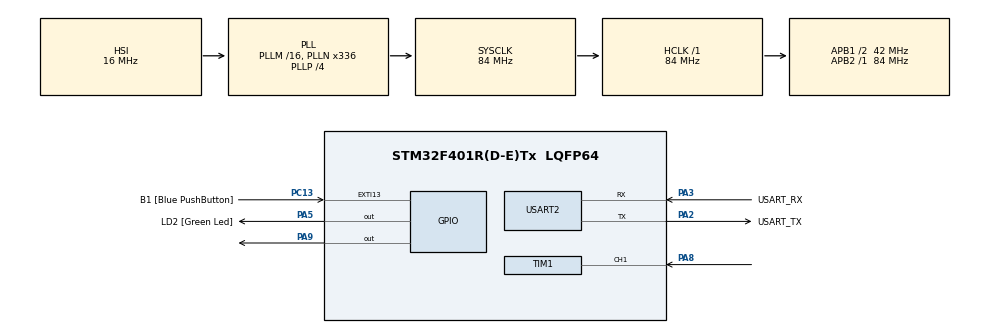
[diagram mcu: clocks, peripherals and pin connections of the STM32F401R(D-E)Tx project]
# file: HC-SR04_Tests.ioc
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Mcu.Family=STM32F4
PC15-OSC32_OUT.Mode=LSE-External-Oscillator
PA2.GPIO_PuPd=GPIO_NOPULL
RCC.CortexFreq_Value=84000000
PC13-ANTI_TAMP.GPIO_PuPd=GPIO_NOPULL
PC13-ANTI_TAMP.GPIO_Label=B1 [Blue PushButton]
PA14.GPIO_Label=TCK
PA3.GPIO_PuPd=GPIO_NOPULL
PH1\ -\ OSC_OUT.Mode=HSE-External-Clock-Source
PA2.GPIO_Speed=GPIO_SPEED_FREQ_LOW
RCC.APB1CLKDivider=RCC_HCLK_DIV2
PC14-OSC32_IN.Signal=RCC_OSC32_IN
PA3.GPIO_Speed=GPIO_SPEED_FREQ_LOW
RCC.SYSCLKSource=RCC_SYSCLKSOURCE_PLLCLK
ProjectManager.StackSize=0x400
PA13.Signal=SYS_JTMS-SWDIO
PA3.Mode=Asynchronous
PH0\ -\ OSC_IN.Mode=HSE-External-Clock-Source
TIM1.Prescaler=84-1
SH.S_TIM1_CH1.0=TIM1_CH1,Input_Capture1_from_TI1
PH0\ -\ OSC_IN.Signal=RCC_OSC_IN
ProjectManager.TargetToolchain=STM32CubeIDE
PA3.GPIO_Mode=GPIO_MODE_AF_PP
RCC.HCLKFreq_Value=84000000
RCC.APB2TimFreq_Value=84000000
PA9.Signal=GPIO_Output
PC15-OSC32_OUT.Signal=RCC_OSC32_OUT
RCC.AHBFreq_Value=84000000
PA5.Signal=GPIO_Output
RCC.HSE_VALUE=8000000
PH1\ -\ OSC_OUT.Signal=RCC_OSC_OUT
board=NUCLEO-F401RE
PC13-ANTI_TAMP.Signal=GPXTI13
RCC.VCOOutputFreq_Value=336000000
RCC.APB2Freq_Value=84000000
PC14-OSC32_IN.Mode=LSE-External-Oscillator
PA14.Mode=Serial_Wire
PA5.GPIO_PuPd=GPIO_NOPULL
PA8.Signal=S_TIM1_CH1
PA13.Mode=Serial_Wire
Mcu.Name=STM32F401R(D-E)Tx
PA2.Signal=USART2_TX
PA13.GPIO_Label=TMS
NVIC.TIM1_CC_IRQn=true\:0\:0\:false\:false\:true\:true\:true
RCC.48MHZClocksFreq_Value=48000000
PB3.Signal=SYS_JTDO-SWO
RCC.SYSCLKFreq_VALUE=84000000
Mcu.Package=LQFP64
PA5.GPIO_Label=LD2 [Green Led]
USART2.VirtualMode=VM_ASYNC
TIM1.Channel-Input_Capture1_from_TI1=TIM_CHANNEL_1
PC13-ANTI_TAMP.GPIO_ModeDefaultEXTI=GPIO_MODE_IT_FALLING
PA2.GPIO_Label=USART_TX
PA14.Signal=SYS_JTCK-SWCLK
ProjectManager.HeapSize=0x200
RCC.HSI_VALUE=16000000
RCC.PLLP=RCC_PLLP_DIV4
PA5.GPIO_Speed=GPIO_SPEED_FREQ_LOW
RCC.PLLQ=7
NVIC.PriorityGroup=NVIC_PRIORITYGROUP_0
RCC.PLLN=336
RCC.APB1TimFreq_Value=84000000
PA2.Mode=Asynchronous
RCC.APB1Freq_Value=42000000
PA5.GPIO_Mode=GPIO_MODE_OUTPUT_PP
PA3.GPIO_Label=USART_RX
PA3.Signal=USART2_RX
PA2.GPIO_Mode=GPIO_MODE_AF_PP
PB3.GPIO_Label=SWO

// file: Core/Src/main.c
/* USER CODE BEGIN Header */
/**
  ******************************************************************************
  * @file           : main.c
  * @brief          : Main program body
  ******************************************************************************
  * @attention
  *
  * <h2><center>&copy; Copyright (c) 2021 STMicroelectronics.
  * All rights reserved.</center></h2>
  *
  * This software component is licensed by ST under BSD 3-Clause license,
  * the "License"; You may not use this file except in compliance with the
  * License. You may obtain a copy of the License at:
  *                        opensource.org/licenses/BSD-3-Clause
  *
  ******************************************************************************
  */
/* USER CODE END Header */
#include "main.h"

TIM_HandleTypeDef htim1;

UART_HandleTypeDef huart2;

void SystemClock_Config(void);
static void MX_GPIO_Init(void);
static void MX_USART2_UART_Init(void);
static void MX_TIM1_Init(void);

/* USER CODE BEGIN 0 */
void delay (uint16_t time)
{
	__HAL_TIM_SET_COUNTER(&htim1,0);
	while (__HAL_TIM_GET_COUNTER (&htim1) < time );
}

uint32_t IC_Val1 = 0;
uint32_t IC_Val2 = 0;
uint32_t Difference = 0;
uint8_t Is_First_Captured = 0;  // is the first value captured ?
uint8_t Distance  = 0;
uint8_t count = 0;
uint8_t debug_counter = 0;
uint8_t debug_Val1 = 0;
uint8_t debug_Val2 = 0;
uint8_t Enable_Trigger = 1;

#define TRIG_PIN GPIO_PIN_8
#define TRIG_PORT GPIOA

// Let's write the callback function

void HAL_TIM_IC_CaptureCallback(TIM_HandleTypeDef *htim)
{
	if (htim->Channel == HAL_TIM_ACTIVE_CHANNEL_1)  // if the interrupt source is channel1
//	if (htim->State == HAL_TIM_STATE_READY)
	{
		if (Is_First_Captured == 0) // if the first value is not captured
		{
			IC_Val1 = HAL_TIM_ReadCapturedValue(htim, TIM_CHANNEL_1); // read the first value
			Is_First_Captured = 1;  // set the first captured as true

			debug_Val1++;

			// Now change the polarity to falling edge
			__HAL_TIM_SET_CAPTUREPOLARITY(htim, TIM_CHANNEL_1, TIM_INPUTCHANNELPOLARITY_FALLING);
		}

		else if (Is_First_Captured == 1)   // if the first is already captured
		{
			IC_Val2 = HAL_TIM_ReadCapturedValue(htim, TIM_CHANNEL_1);  // read second value
			__HAL_TIM_SetCounter(htim, 0);  // reset the counter

			debug_Val2++;

			if (IC_Val2 > IC_Val1)
			{
				Difference = IC_Val2 - IC_Val1;
			}

			else if (IC_Val1 > IC_Val2)
			{
				Difference = (0xffff - IC_Val1) + IC_Val2;
			}

			Distance = Difference * .034/2;
			Is_First_Captured = 0; // set it back to false

			// set polarity to rising edge
			__HAL_TIM_SET_CAPTUREPOLARITY(htim, TIM_CHANNEL_1, TIM_INPUTCHANNELPOLARITY_RISING);
			__HAL_TIM_DISABLE_IT(&htim1, TIM_IT_CC1);
//			htim1.Channel = HAL_TIM_ACTIVE_CHANNEL_2;
//			htim1.State = HAL_TIM_STATE_RESET;
			count++;
		}
	}
}
void No_Callback (void){
	if (Is_First_Captured == 0) // if the first value is not captured
		{
			IC_Val1 = HAL_TIM_ReadCapturedValue(&htim1, TIM_CHANNEL_1); // read the first value
			Is_First_Captured = 1;  // set the first captured as true

			debug_Val1++;

			// Now change the polarity to falling edge
			__HAL_TIM_SET_CAPTUREPOLARITY(&htim1, TIM_CHANNEL_1, TIM_INPUTCHANNELPOLARITY_FALLING);
		}

		else if (Is_First_Captured == 1)   // if the first is already captured
		{
			IC_Val2 = HAL_TIM_ReadCapturedValue(&htim1, TIM_CHANNEL_1);  // read second value
			__HAL_TIM_SetCounter(&htim1, 0);  // reset the counter

			debug_Val2++;

			if (IC_Val2 > IC_Val1)
			{
				Difference = IC_Val2 - IC_Val1;
			}

			else if (IC_Val1 > IC_Val2)
			{
				Difference = (0xffff - IC_Val1) + IC_Val2;
			}

			Distance = Difference * .034/2;
			Is_First_Captured = 0; // set it back to false

			// set polarity to rising edge
			__HAL_TIM_SET_CAPTUREPOLARITY(&htim1, TIM_CHANNEL_1, TIM_INPUTCHANNELPOLARITY_RISING);
			__HAL_TIM_DISABLE_IT(&htim1, TIM_IT_CC1);
		}
}
void HCSR04_Read (void)
{
	HAL_GPIO_WritePin(TRIG_PORT, TRIG_PIN, GPIO_PIN_SET);  // pull the TRIG pin HIGH
	delay(10);  // wait for 10 us
	HAL_GPIO_WritePin(TRIG_PORT, TRIG_PIN, GPIO_PIN_RESET);   // pull the TRIG pin low

	htim1.Channel = HAL_TIM_ACTIVE_CHANNEL_1;
	htim1.State = HAL_TIM_STATE_RESET;
	htim1.State = HAL_TIM_STATE_READY;

	__HAL_TIM_ENABLE_IT(&htim1, TIM_IT_CC1);

//	count++;

//	if (Is_First_Captured == 0) // if the first value is not captured
//			{
//				IC_Val1 = HAL_TIM_ReadCapturedValue(&htim1, TIM_CHANNEL_1); // read the first value
//				Is_First_Captured = 1;  // set the first captured as true
//
//				debug_Val1++;
//
//				// Now change the polarity to falling edge
//				__HAL_TIM_SET_CAPTUREPOLARITY(&htim1, TIM_CHANNEL_1, TIM_INPUTCHANNELPOLARITY_FALLING);
//			}
//
//			else if (Is_First_Captured == 1)   // if the first is already captured
//			{
//				IC_Val2 = HAL_TIM_ReadCapturedValue(&htim1, TIM_CHANNEL_1);  // read second value
//				__HAL_TIM_SetCounter(&htim1, 0);  // reset the counter
//
//				debug_Val2++;
//
//				if (IC_Val2 > IC_Val1)
//				{
//					Difference = IC_Val2 - IC_Val1;
//				}
//
//				else if (IC_Val1 > IC_Val2)
//				{
//					Difference = (0xffff - IC_Val1) + IC_Val2;
//				}
//
//				Distance = Difference * .034/2;
//				Is_First_Captured = 0; // set it back to false
//
//				// set polarity to rising edge
//				__HAL_TIM_SET_CAPTUREPOLARITY(&htim1, TIM_CHANNEL_1, TIM_INPUTCHANNELPOLARITY_RISING);
////				__HAL_TIM_DISABLE_IT(&htim1, TIM_IT_CC1);
//			}

	debug_counter++;
}

/* USER CODE END 0 */

int main(void)
{

  /* MCU Configuration--------------------------------------------------------*/

  /* Reset of all peripherals, Initializes the Flash interface and the Systick. */
  HAL_Init();

  /* Configure the system clock */
  SystemClock_Config();

  /* Initialize all configured peripherals */
  MX_GPIO_Init();
  MX_USART2_UART_Init();
  MX_TIM1_Init();
  /* USER CODE BEGIN 2 */
  HAL_TIM_IC_Start_IT(&htim1, TIM_CHANNEL_1);

  /* USER CODE END 2 */

  /* Infinite loop */
  while (1)
  {
//	  if (Enable_Trigger == 1) {
//		HAL_GPIO_WritePin(TRIG_PORT, TRIG_PIN, GPIO_PIN_SET);  // pull the TRIG pin HIGH
//		delay(10);  // wait for 10 us
//		HAL_GPIO_WritePin(TRIG_PORT, TRIG_PIN, GPIO_PIN_RESET);   // pull the TRIG pin low
//		__HAL_TIM_ENABLE_IT(&htim1, TIM_IT_CC1);
//		Enable_Trigger = 0;
//	  }
//
//	  if (Is_First_Captured == 0) // if the first value is not captured
//	  			{
//	  				IC_Val1 = HAL_TIM_ReadCapturedValue(&htim1, TIM_CHANNEL_1); // read the first value
//	  				Is_First_Captured = 1;  // set the first captured as true
//
//	  				debug_Val1++;
//
//	  				// Now change the polarity to falling edge
//	  				__HAL_TIM_SET_CAPTUREPOLARITY(&htim1, TIM_CHANNEL_1, TIM_INPUTCHANNELPOLARITY_FALLING);
//	  			}
//
//	  			else if (Is_First_Captured == 1)   // if the first is already captured
//	  			{
//	  				IC_Val2 = HAL_TIM_ReadCapturedValue(&htim1, TIM_CHANNEL_1);  // read second value
//	  				__HAL_TIM_SetCounter(&htim1, 0);  // reset the counter
//
//	  				debug_Val2++;
//
//	  				if (IC_Val2 > IC_Val1)
//	  				{
//	  					Difference = IC_Val2 - IC_Val1;
//	  				}
//
//	  				else if (IC_Val1 > IC_Val2)
//	  				{
//	  					Difference = (0xffff - IC_Val1) + IC_Val2;
//	  				}
//
//	  				Distance = Difference * .034/2;
//	  				Is_First_Captured = 0; // set it back to false
//	  				Enable_Trigger = 1;
//
//	  				// set polarity to rising edge
//	  				__HAL_TIM_SET_CAPTUREPOLARITY(&htim1, TIM_CHANNEL_1, TIM_INPUTCHANNELPOLARITY_RISING);
//	  				__HAL_TIM_DISABLE_IT(&htim1, TIM_IT_CC1);
////	  			}

	  HCSR04_Read();
//	  No_Callback();
	  HAL_Delay(500);
//	  count++;
  }
}

void SystemClock_Config(void)
{
  RCC_OscInitTypeDef RCC_OscInitStruct = {0};
  RCC_ClkInitTypeDef RCC_ClkInitStruct = {0};

  /** Configure the main internal regulator output voltage
  */
  __HAL_RCC_PWR_CLK_ENABLE();
  __HAL_PWR_VOLTAGESCALING_CONFIG(PWR_REGULATOR_VOLTAGE_SCALE2);
  /** Initializes the RCC Oscillators according to the specified parameters
  * in the RCC_OscInitTypeDef structure.
  */
  RCC_OscInitStruct.OscillatorType = RCC_OSCILLATORTYPE_HSI;
  RCC_OscInitStruct.HSIState = RCC_HSI_ON;
  RCC_OscInitStruct.HSICalibrationValue = RCC_HSICALIBRATION_DEFAULT;
  RCC_OscInitStruct.PLL.PLLState = RCC_PLL_ON;
  RCC_OscInitStruct.PLL.PLLSource = RCC_PLLSOURCE_HSI;
  RCC_OscInitStruct.PLL.PLLM = 16;
  RCC_OscInitStruct.PLL.PLLN = 336;
  RCC_OscInitStruct.PLL.PLLP = RCC_PLLP_DIV4;
  RCC_OscInitStruct.PLL.PLLQ = 7;
  if (HAL_RCC_OscConfig(&RCC_OscInitStruct) != HAL_OK)
  {
    Error_Handler();
  }
  /** Initializes the CPU, AHB and APB buses clocks
  */
  RCC_ClkInitStruct.ClockType = RCC_CLOCKTYPE_HCLK|RCC_CLOCKTYPE_SYSCLK
                              |RCC_CLOCKTYPE_PCLK1|RCC_CLOCKTYPE_PCLK2;
  RCC_ClkInitStruct.SYSCLKSource = RCC_SYSCLKSOURCE_PLLCLK;
  RCC_ClkInitStruct.AHBCLKDivider = RCC_SYSCLK_DIV1;
  RCC_ClkInitStruct.APB1CLKDivider = RCC_HCLK_DIV2;
  RCC_ClkInitStruct.APB2CLKDivider = RCC_HCLK_DIV1;

  if (HAL_RCC_ClockConfig(&RCC_ClkInitStruct, FLASH_LATENCY_2) != HAL_OK)
  {
    Error_Handler();
  }
}

static void MX_TIM1_Init(void)
{

  TIM_MasterConfigTypeDef sMasterConfig = {0};
  TIM_IC_InitTypeDef sConfigIC = {0};

  htim1.Instance = TIM1;
  htim1.Init.Prescaler = 84-1;
  htim1.Init.CounterMode = TIM_COUNTERMODE_UP;
  htim1.Init.Period = 65535;
  htim1.Init.ClockDivision = TIM_CLOCKDIVISION_DIV1;
  htim1.Init.RepetitionCounter = 0;
  htim1.Init.AutoReloadPreload = TIM_AUTORELOAD_PRELOAD_DISABLE;
  if (HAL_TIM_IC_Init(&htim1) != HAL_OK)
  {
    Error_Handler();
  }
  sMasterConfig.MasterOutputTrigger = TIM_TRGO_RESET;
  sMasterConfig.MasterSlaveMode = TIM_MASTERSLAVEMODE_DISABLE;
  if (HAL_TIMEx_MasterConfigSynchronization(&htim1, &sMasterConfig) != HAL_OK)
  {
    Error_Handler();
  }
  sConfigIC.ICPolarity = TIM_INPUTCHANNELPOLARITY_RISING;
  sConfigIC.ICSelection = TIM_ICSELECTION_DIRECTTI;
  sConfigIC.ICPrescaler = TIM_ICPSC_DIV1;
  sConfigIC.ICFilter = 0;
  if (HAL_TIM_IC_ConfigChannel(&htim1, &sConfigIC, TIM_CHANNEL_1) != HAL_OK)
  {
    Error_Handler();
  }

}

static void MX_USART2_UART_Init(void)
{

  huart2.Instance = USART2;
  huart2.Init.BaudRate = 115200;
  huart2.Init.WordLength = UART_WORDLENGTH_8B;
  huart2.Init.StopBits = UART_STOPBITS_1;
  huart2.Init.Parity = UART_PARITY_NONE;
  huart2.Init.Mode = UART_MODE_TX_RX;
  huart2.Init.HwFlowCtl = UART_HWCONTROL_NONE;
  huart2.Init.OverSampling = UART_OVERSAMPLING_16;
  if (HAL_UART_Init(&huart2) != HAL_OK)
  {
    Error_Handler();
  }

}

static void MX_GPIO_Init(void)
{
  GPIO_InitTypeDef GPIO_InitStruct = {0};

  /* GPIO Ports Clock Enable */
  __HAL_RCC_GPIOC_CLK_ENABLE();
  __HAL_RCC_GPIOH_CLK_ENABLE();
  __HAL_RCC_GPIOA_CLK_ENABLE();
  __HAL_RCC_GPIOB_CLK_ENABLE();

  /*Configure GPIO pin Output Level */
  HAL_GPIO_WritePin(GPIOA, LD2_Pin|GPIO_PIN_9, GPIO_PIN_RESET);

  /*Configure GPIO pin : B1_Pin */
  GPIO_InitStruct.Pin = B1_Pin;
  GPIO_InitStruct.Mode = GPIO_MODE_IT_FALLING;
  GPIO_InitStruct.Pull = GPIO_NOPULL;
  HAL_GPIO_Init(B1_GPIO_Port, &GPIO_InitStruct);

  /*Configure GPIO pins : LD2_Pin PA9 */
  GPIO_InitStruct.Pin = LD2_Pin|GPIO_PIN_9;
  GPIO_InitStruct.Mode = GPIO_MODE_OUTPUT_PP;
  GPIO_InitStruct.Pull = GPIO_NOPULL;
  GPIO_InitStruct.Speed = GPIO_SPEED_FREQ_LOW;
  HAL_GPIO_Init(GPIOA, &GPIO_InitStruct);

}

void Error_Handler(void)
{
  __disable_irq();
  while (1)
  {
  }
}

/************************ (C) COPYRIGHT STMicroelectronics *****END OF FILE****/
